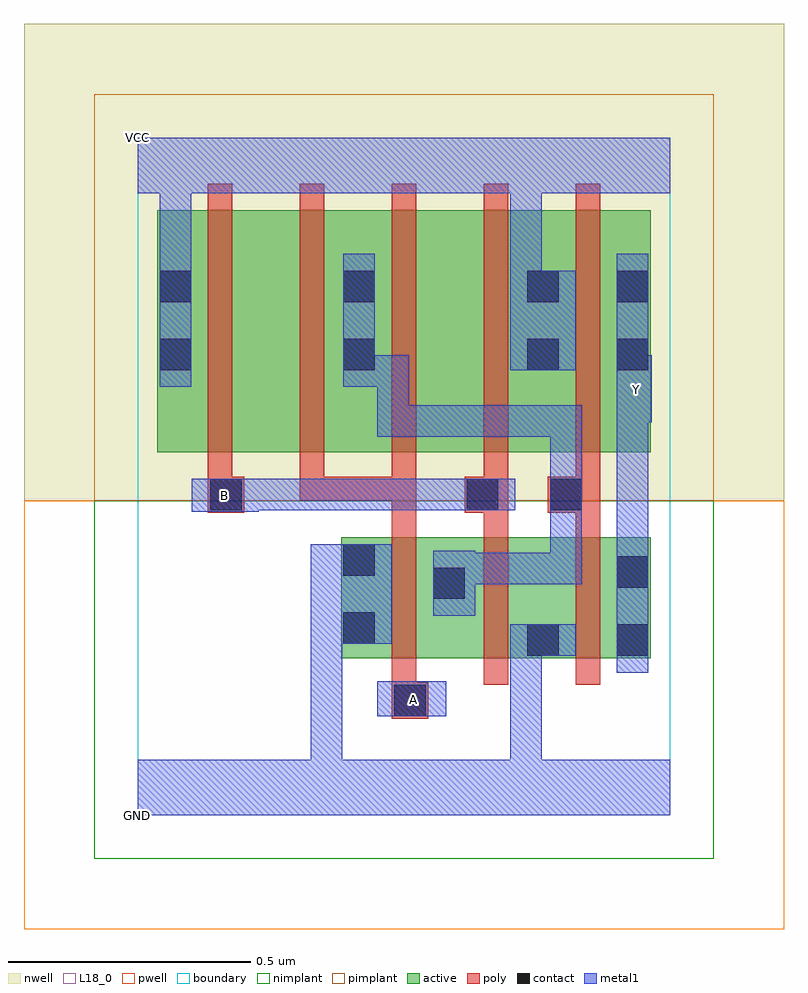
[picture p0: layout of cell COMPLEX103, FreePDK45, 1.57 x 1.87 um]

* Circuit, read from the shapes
.subckt COMPLEX103 A B GND VCC Y
M1 n1 A GND VSUBS nfet w=0.25u l=0.05u
M2 GND B n1 VSUBS nfet w=0.25u l=0.05u
M3 Y n1 GND VSUBS nfet w=0.25u l=0.05u
M4 n2 B VCC n3 pfet w=0.5u l=0.05u
M5 n1 A n2 n3 pfet w=0.5u l=0.05u
M6 n4 A n1 n3 pfet w=0.5u l=0.05u
M7 VCC B n4 n3 pfet w=0.5u l=0.05u
M8 Y n1 VCC n3 pfet w=0.5u l=0.05u
.ends

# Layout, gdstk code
import gdstk
lib = gdstk.Library(unit=1e-6, precision=1e-09)
def R(c, l, rs):  # rectangles x0, y0, x1, y1
    for r in rs: c.add(gdstk.rectangle(r[:2], r[2:], *l))
def A(c, l, x, y, w, h, nx, ny, dx, dy):  # array of equal rectangles
    R(c, l, [(x+i*dx, y+j*dy, x+i*dx+w, y+j*dy+h) for i in range(nx) for j in range(ny)])
active = (1, 0)
pwell = (2, 0)
nwell = (3, 0)
nimplant = (4, 0)
pimplant = (5, 0)
poly = (9, 0)
contact = (10, 0)
metal1 = (11, 0)
L18_0 = (18, 0)
boundary = (235, 0)

complex103 = lib.new_cell('COMPLEX103')
R(complex103, active, [(0.42,0.325,0.495,0.575), (0.42,0.325,0.68,0.575), (0.605,0.325,0.875,0.575), (0.605,0.325,0.68,0.54), (0.8,0.325,1.06,0.575), (0.8,0.325,0.875,0.497), (0.985,0.325,1.06,0.575), (0.04,0.75,0.115,1.205), (0.04,0.75,0.265,1.25), (0.265,0.75,0.495,1.25), (0.42,0.75,0.495,1.2), (0.42,0.75,0.645,1.25), (0.645,0.75,0.875,1.25), (0.8,0.75,1.06,1.25), (0.8,0.75,0.875,1.205), (0.985,0.75,1.06,1.2)])
R(complex103, pwell, [(-0.235,-0.235,1.335,0.65)])
R(complex103, nwell, [(-0.235,0.65,1.335,1.635)])
R(complex103, nimplant, [(-0.09,-0.09,1.19,0.65)])
R(complex103, pimplant, [(-0.09,0.65,1.19,1.49)])
A(complex103, poly, 0.525, 0.27, 0.05, 0.36, 3, 1, 0.19, 0)
A(complex103, poly, 0.145, 0.65, 0.05, 0.095, 5, 1, 0.19, 0)
A(complex103, poly, 0.145, 0.695, 0.05, 0.61, 5, 1, 0.19, 0)
R(complex103, poly, [(0.525,0.2,0.6,0.275), (0.525,0.225,0.575,0.32), (0.525,0.58,0.575,0.7), (0.715,0.58,0.765,0.675), (0.905,0.58,0.955,0.675), (0.145,0.625,0.22,0.7), (0.675,0.625,0.765,0.7), (0.847,0.625,0.955,0.7), (0.335,0.65,0.385,0.7), (0.335,0.65,0.575,0.7), (0.525,0.65,0.575,0.7), (0.525,0.65,0.575,0.7), (0.525,0.65,0.575,0.7)])
A(complex103, contact, 0.045, 0.92, 0.065, 0.065, 3, 2, 0.38, 0.14)
R(complex103, contact, [(0.53,0.205,0.595,0.27), (0.805,0.33,0.87,0.395), (0.99,0.33,1.055,0.395), (0.425,0.355,0.49,0.42), (0.61,0.447,0.675,0.512), (0.99,0.47,1.055,0.535), (0.425,0.495,0.49,0.56), (0.15,0.63,0.215,0.695), (0.68,0.63,0.745,0.695), (0.852,0.63,0.917,0.695), (0.99,0.92,1.055,0.985), (0.99,1.06,1.055,1.125)])
R(complex103, metal1, [(0,0,1.1,0.115), (0.357,0.05,0.422,0.115), (0.357,0.05,0.422,0.115), (0.357,0.05,0.422,0.115), (0.357,0.05,0.422,0.115), (0.357,0.05,0.422,0.115), (0.357,0.05,0.422,0.115), (0.357,0.05,0.422,0.42), (0.77,0.05,0.835,0.115), (0.77,0.05,0.835,0.115), (0.77,0.05,0.835,0.115), (0.77,0.05,0.835,0.115), (0.77,0.05,0.835,0.115), (0.77,0.05,0.835,0.115), (0.77,0.05,0.835,0.395), (0.495,0.205,0.637,0.277), (0.99,0.295,1.055,0.57), (0.77,0.33,0.905,0.395), (0.357,0.355,0.525,0.56), (0.61,0.412,0.697,0.547), (0.632,0.477,0.697,0.542), (0.632,0.477,0.697,0.542), (0.632,0.477,0.917,0.542), (0.852,0.477,0.917,0.542), (0.852,0.477,0.917,0.73), (0.99,0.505,1.055,0.877), (0.852,0.595,0.917,0.73), (0.112,0.627,0.25,0.695), (0.185,0.63,0.25,0.695), (0.185,0.63,0.25,0.695), (0.185,0.63,0.387,0.695), (0.322,0.63,0.387,0.695), (0.322,0.63,0.387,0.695), (0.322,0.63,0.387,0.695), (0.322,0.63,0.56,0.695), (0.495,0.63,0.56,0.695), (0.495,0.63,0.697,0.695), (0.632,0.63,0.697,0.695), (0.632,0.63,0.71,0.695), (0.645,0.63,0.78,0.695), (0.852,0.665,0.917,0.73), (0.852,0.665,0.917,0.73), (0.852,0.665,0.917,0.847), (0.495,0.782,0.697,0.847), (0.495,0.782,0.56,0.95), (0.632,0.782,0.697,0.847), (0.632,0.782,0.697,0.847), (0.632,0.782,0.697,0.847), (0.632,0.782,0.917,0.847), (0.852,0.782,0.917,0.847), (0.99,0.812,1.062,0.95), (0.045,0.885,0.11,1.16), (0.425,0.885,0.49,1.16), (0.425,0.885,0.56,0.95), (0.99,0.885,1.055,0.95), (0.99,0.885,1.055,1.16), (0.77,0.92,0.905,1.125), (0.77,1.06,0.835,1.35), (0.045,1.095,0.11,1.35), (0,1.285,1.1,1.4), (0.045,1.285,0.11,1.35), (0.045,1.285,0.11,1.35), (0.77,1.285,0.835,1.35), (0.77,1.285,0.835,1.35)])
R(complex103, L18_0, [(0,0,1.1,0.115), (0.357,0.05,0.422,0.115), (0.357,0.05,0.422,0.115), (0.357,0.05,0.422,0.115), (0.357,0.05,0.422,0.115), (0.357,0.05,0.422,0.115), (0.357,0.05,0.422,0.115), (0.357,0.05,0.422,0.42), (0.77,0.05,0.835,0.115), (0.77,0.05,0.835,0.115), (0.77,0.05,0.835,0.115), (0.77,0.05,0.835,0.115), (0.77,0.05,0.835,0.115), (0.77,0.05,0.835,0.115), (0.77,0.05,0.835,0.395), (0.495,0.205,0.637,0.277), (0.537,0.207,0.602,0.272), (0.99,0.295,1.055,0.57), (0.77,0.33,0.905,0.395), (0.357,0.355,0.525,0.56), (0.99,0.505,1.055,0.877), (0.112,0.627,0.25,0.695), (0.147,0.627,0.212,0.692), (0.185,0.63,0.25,0.695), (0.185,0.63,0.25,0.695), (0.185,0.63,0.387,0.695), (0.322,0.63,0.387,0.695), (0.322,0.63,0.387,0.695), (0.322,0.63,0.387,0.695), (0.322,0.63,0.56,0.695), (0.495,0.63,0.56,0.695), (0.495,0.63,0.697,0.695), (0.632,0.63,0.697,0.695), (0.632,0.63,0.71,0.695), (0.645,0.63,0.78,0.695), (0.99,0.812,1.062,0.95), (0.997,0.847,1.062,0.912), (0.045,0.885,0.11,1.16), (0.99,0.885,1.055,1.16), (0.99,0.885,1.055,0.95), (0.77,0.92,0.905,1.125), (0.77,1.06,0.835,1.35), (0.045,1.095,0.11,1.35), (0,1.285,1.1,1.4), (0.045,1.285,0.11,1.35), (0.045,1.285,0.11,1.35), (0.77,1.285,0.835,1.35), (0.77,1.285,0.835,1.35)])
R(complex103, boundary, [(0,0,1.1,1.4)])
complex103.add(gdstk.Label('A', (0.57,0.24), layer=11, texttype=0))
complex103.add(gdstk.Label('B', (0.18,0.66), layer=11, texttype=0))
complex103.add(gdstk.Label('Y', (1.03,0.88), layer=11, texttype=0))
complex103.add(gdstk.Label('VCC', (0,1.4), layer=11, texttype=0))
complex103.add(gdstk.Label('GND', (0,0), layer=11, texttype=0))

lib.write_gds('COMPLEX103.gds')
